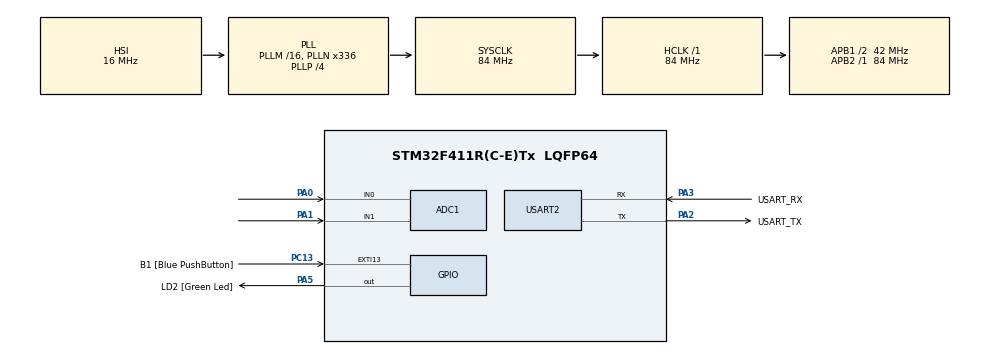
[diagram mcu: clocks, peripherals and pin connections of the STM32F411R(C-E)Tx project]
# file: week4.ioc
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ADC1.Channel-0\#ChannelRegularConversion=ADC_CHANNEL_0
ADC1.Channel-1\#ChannelRegularConversion=ADC_CHANNEL_TEMPSENSOR
ADC1.ContinuousConvMode=ENABLE
ADC1.DMAContinuousRequests=ENABLE
ADC1.NbrOfConversion=2
ADC1.NbrOfConversionFlag=1
ADC1.Rank-0\#ChannelRegularConversion=1
ADC1.Rank-1\#ChannelRegularConversion=2
ADC1.SamplingTime-0\#ChannelRegularConversion=ADC_SAMPLETIME_56CYCLES
ADC1.SamplingTime-1\#ChannelRegularConversion=ADC_SAMPLETIME_56CYCLES
ADC1.master=1
Dma.ADC1.0.Direction=DMA_PERIPH_TO_MEMORY
Dma.ADC1.0.FIFOMode=DMA_FIFOMODE_DISABLE
Dma.ADC1.0.Instance=DMA2_Stream0
Dma.ADC1.0.MemDataAlignment=DMA_MDATAALIGN_HALFWORD
Dma.ADC1.0.MemInc=DMA_MINC_ENABLE
Dma.ADC1.0.Mode=DMA_CIRCULAR
Dma.ADC1.0.PeriphDataAlignment=DMA_PDATAALIGN_HALFWORD
Dma.ADC1.0.PeriphInc=DMA_PINC_DISABLE
Dma.ADC1.0.Priority=DMA_PRIORITY_LOW
Dma.Request0=ADC1
Mcu.Family=STM32F4
Mcu.Name=STM32F411R(C-E)Tx
Mcu.Package=LQFP64
NVIC.ADC_IRQn=true\:0\:0\:false\:false\:true\:true\:true\:true
NVIC.DMA2_Stream0_IRQn=true\:0\:0\:false\:false\:true\:false\:true\:true
NVIC.EXTI15_10_IRQn=true\:0\:0\:false\:false\:true\:true\:true\:true
NVIC.PriorityGroup=NVIC_PRIORITYGROUP_0
PA0-WKUP.Signal=ADCx_IN0
PA1.Signal=ADCx_IN1
PA13.GPIO_Label=TMS
PA13.Mode=Serial_Wire
PA13.Signal=SYS_JTMS-SWDIO
PA14.GPIO_Label=TCK
PA14.Mode=Serial_Wire
PA14.Signal=SYS_JTCK-SWCLK
PA2.GPIO_Label=USART_TX
PA2.Mode=Asynchronous
PA2.Signal=USART2_TX
PA3.GPIO_Label=USART_RX
PA3.Mode=Asynchronous
PA3.Signal=USART2_RX
PA5.GPIO_Label=LD2 [Green Led]
PA5.Signal=GPIO_Output
PB3.GPIO_Label=SWO
PB3.Signal=SYS_JTDO-SWO
PC13-ANTI_TAMP.GPIO_Label=B1 [Blue PushButton]
PC13-ANTI_TAMP.GPIO_ModeDefaultEXTI=GPIO_MODE_IT_FALLING
PC13-ANTI_TAMP.Signal=GPXTI13
PC14-OSC32_IN.Mode=LSE-External-Oscillator
PC14-OSC32_IN.Signal=RCC_OSC32_IN
PC15-OSC32_OUT.Mode=LSE-External-Oscillator
PC15-OSC32_OUT.Signal=RCC_OSC32_OUT
PH0\ -\ OSC_IN.Mode=HSE-External-Clock-Source
PH0\ -\ OSC_IN.Signal=RCC_OSC_IN
PH1\ -\ OSC_OUT.Mode=HSE-External-Clock-Source
PH1\ -\ OSC_OUT.Signal=RCC_OSC_OUT
ProjectManager.HeapSize=0x200
ProjectManager.StackSize=0x400
ProjectManager.TargetToolchain=STM32CubeIDE
RCC.48MHZClocksFreq_Value=84000000
RCC.AHBFreq_Value=84000000
RCC.APB1CLKDivider=RCC_HCLK_DIV2
RCC.APB1Freq_Value=42000000
RCC.APB1TimFreq_Value=84000000
RCC.APB2Freq_Value=84000000
RCC.APB2TimFreq_Value=84000000
RCC.CortexFreq_Value=84000000
RCC.FLatency-AdvancedSettings=FLASH_LATENCY_2
RCC.HCLKFreq_Value=84000000
RCC.HSE_VALUE=8000000
RCC.HSI_VALUE=16000000
RCC.PLLN=336
RCC.PLLP=RCC_PLLP_DIV4
RCC.SYSCLKFreq_VALUE=84000000
RCC.SYSCLKSource=RCC_SYSCLKSOURCE_PLLCLK
RCC.VCOOutputFreq_Value=336000000
SH.ADCx_IN0.0=ADC1_IN0,IN0
SH.ADCx_IN1.0=ADC1_IN1,IN1
USART2.VirtualMode=VM_ASYNC
VP_ADC1_TempSens_Input.Mode=IN-TempSens
board=NUCLEO-F411RE

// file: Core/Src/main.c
/* USER CODE BEGIN Header */
/**
  ******************************************************************************
  * @file           : main.c
  * @brief          : Main program body
  ******************************************************************************
  * @attention
  *
  * Copyright (c) 2023 STMicroelectronics.
  * All rights reserved.
  *
  * This software is licensed under terms that can be found in the LICENSE file
  * in the root directory of this software component.
  * If no LICENSE file comes with this software, it is provided AS-IS.
  *
  ******************************************************************************
  */
/* USER CODE END Header */
#include "main.h"

ADC_HandleTypeDef hadc1;
DMA_HandleTypeDef hdma_adc1;

UART_HandleTypeDef huart2;

/* USER CODE BEGIN PV */
typedef struct
{
	uint16_t IN0;
	uint16_t Temp;

}ADCDMABuffer;

ADCDMABuffer adcdmabuffer[10];

uint16_t AvgVin = 0; // bit
uint16_t Vin = 0; // mV

uint16_t AvgTemp = 0 ; // bit
uint16_t TempKevin = 0 ;  // K

/* USER CODE END PV */

void SystemClock_Config(void);
static void MX_GPIO_Init(void);
static void MX_DMA_Init(void);
static void MX_USART2_UART_Init(void);
static void MX_ADC1_Init(void);

int main(void)
{

  /* MCU Configuration--------------------------------------------------------*/

  /* Reset of all peripherals, Initializes the Flash interface and the Systick. */
  HAL_Init();

  /* Configure the system clock */
  SystemClock_Config();

  /* Initialize all configured peripherals */
  MX_GPIO_Init();
  MX_DMA_Init();
  MX_USART2_UART_Init();
  MX_ADC1_Init();
  /* USER CODE BEGIN 2 */
  HAL_ADC_Start_DMA(&hadc1, (uint32_t*) adcdmabuffer, 20);
  /* USER CODE END 2 */

  /* Infinite loop */
  while (1)
  {

    /* USER CODE BEGIN 3 */
	  //Call function every 1000 ms = 1 s =  1 Hz
		static uint32_t Timestamp = 0;
		if (HAL_GetTick() >= Timestamp)
		{
			Timestamp = HAL_GetTick() + 1000;
//
			//register int i;
			AvgVin = 0 ;  //set start
			AvgTemp = 0 ; //set start

			for (int i = 0; i < 10; i++)
			{
				AvgVin += adcdmabuffer[i].IN0 ;
				AvgTemp += adcdmabuffer[i].Temp ;

				if (i == 9)
				{
					AvgVin = AvgVin / 10 ; // find Avg Vin
					AvgTemp = AvgTemp / 10 ; // find Avg Temp
				}
			}
				Vin = (( AvgVin * 3.3 * 1000) / 4096 )* 2;  //find Vin * 2 because voltage div
				TempKevin = (((( AvgTemp * 3.3 * 1000) / 4096 ) - (0.76 * 1000)) / 2.5 ) + 25 + 273.15; //find Temp
				 // V25 = 0.76 mV. = 0.76 * 10^3
				//  (( AvgTemp * 3.3 * 1000) / 4096 )  bit to mV.
				//  + 273.15   C to Kevin

				//AvgVin = 0 ;  //set start
				//AvgTemp = 0 ; //set start

		}
  }
  /* USER CODE END 3 */
}

void SystemClock_Config(void)
{
  RCC_OscInitTypeDef RCC_OscInitStruct = {0};
  RCC_ClkInitTypeDef RCC_ClkInitStruct = {0};

  /** Configure the main internal regulator output voltage
  */
  __HAL_RCC_PWR_CLK_ENABLE();
  __HAL_PWR_VOLTAGESCALING_CONFIG(PWR_REGULATOR_VOLTAGE_SCALE1);

  /** Initializes the RCC Oscillators according to the specified parameters
  * in the RCC_OscInitTypeDef structure.
  */
  RCC_OscInitStruct.OscillatorType = RCC_OSCILLATORTYPE_HSI;
  RCC_OscInitStruct.HSIState = RCC_HSI_ON;
  RCC_OscInitStruct.HSICalibrationValue = RCC_HSICALIBRATION_DEFAULT;
  RCC_OscInitStruct.PLL.PLLState = RCC_PLL_ON;
  RCC_OscInitStruct.PLL.PLLSource = RCC_PLLSOURCE_HSI;
  RCC_OscInitStruct.PLL.PLLM = 16;
  RCC_OscInitStruct.PLL.PLLN = 336;
  RCC_OscInitStruct.PLL.PLLP = RCC_PLLP_DIV4;
  RCC_OscInitStruct.PLL.PLLQ = 4;
  if (HAL_RCC_OscConfig(&RCC_OscInitStruct) != HAL_OK)
  {
    Error_Handler();
  }

  /** Initializes the CPU, AHB and APB buses clocks
  */
  RCC_ClkInitStruct.ClockType = RCC_CLOCKTYPE_HCLK|RCC_CLOCKTYPE_SYSCLK
                              |RCC_CLOCKTYPE_PCLK1|RCC_CLOCKTYPE_PCLK2;
  RCC_ClkInitStruct.SYSCLKSource = RCC_SYSCLKSOURCE_PLLCLK;
  RCC_ClkInitStruct.AHBCLKDivider = RCC_SYSCLK_DIV1;
  RCC_ClkInitStruct.APB1CLKDivider = RCC_HCLK_DIV2;
  RCC_ClkInitStruct.APB2CLKDivider = RCC_HCLK_DIV1;

  if (HAL_RCC_ClockConfig(&RCC_ClkInitStruct, FLASH_LATENCY_2) != HAL_OK)
  {
    Error_Handler();
  }
}

static void MX_ADC1_Init(void)
{

  ADC_ChannelConfTypeDef sConfig = {0};

  /** Configure the global features of the ADC (Clock, Resolution, Data Alignment and number of conversion)
  */
  hadc1.Instance = ADC1;
  hadc1.Init.ClockPrescaler = ADC_CLOCK_SYNC_PCLK_DIV4;
  hadc1.Init.Resolution = ADC_RESOLUTION_12B;
  hadc1.Init.ScanConvMode = ENABLE;
  hadc1.Init.ContinuousConvMode = ENABLE;
  hadc1.Init.DiscontinuousConvMode = DISABLE;
  hadc1.Init.ExternalTrigConvEdge = ADC_EXTERNALTRIGCONVEDGE_NONE;
  hadc1.Init.ExternalTrigConv = ADC_SOFTWARE_START;
  hadc1.Init.DataAlign = ADC_DATAALIGN_RIGHT;
  hadc1.Init.NbrOfConversion = 2;
  hadc1.Init.DMAContinuousRequests = ENABLE;
  hadc1.Init.EOCSelection = ADC_EOC_SINGLE_CONV;
  if (HAL_ADC_Init(&hadc1) != HAL_OK)
  {
    Error_Handler();
  }

  /** Configure for the selected ADC regular channel its corresponding rank in the sequencer and its sample time.
  */
  sConfig.Channel = ADC_CHANNEL_0;
  sConfig.Rank = 1;
  sConfig.SamplingTime = ADC_SAMPLETIME_56CYCLES;
  if (HAL_ADC_ConfigChannel(&hadc1, &sConfig) != HAL_OK)
  {
    Error_Handler();
  }

  /** Configure for the selected ADC regular channel its corresponding rank in the sequencer and its sample time.
  */
  sConfig.Channel = ADC_CHANNEL_TEMPSENSOR;
  sConfig.Rank = 2;
  if (HAL_ADC_ConfigChannel(&hadc1, &sConfig) != HAL_OK)
  {
    Error_Handler();
  }

}

static void MX_USART2_UART_Init(void)
{

  huart2.Instance = USART2;
  huart2.Init.BaudRate = 115200;
  huart2.Init.WordLength = UART_WORDLENGTH_8B;
  huart2.Init.StopBits = UART_STOPBITS_1;
  huart2.Init.Parity = UART_PARITY_NONE;
  huart2.Init.Mode = UART_MODE_TX_RX;
  huart2.Init.HwFlowCtl = UART_HWCONTROL_NONE;
  huart2.Init.OverSampling = UART_OVERSAMPLING_16;
  if (HAL_UART_Init(&huart2) != HAL_OK)
  {
    Error_Handler();
  }

}

static void MX_DMA_Init(void)
{

  /* DMA controller clock enable */
  __HAL_RCC_DMA2_CLK_ENABLE();

  /* DMA interrupt init */
  /* DMA2_Stream0_IRQn interrupt configuration */
  HAL_NVIC_SetPriority(DMA2_Stream0_IRQn, 0, 0);
  HAL_NVIC_EnableIRQ(DMA2_Stream0_IRQn);

}

static void MX_GPIO_Init(void)
{
  GPIO_InitTypeDef GPIO_InitStruct = {0};

  /* GPIO Ports Clock Enable */
  __HAL_RCC_GPIOC_CLK_ENABLE();
  __HAL_RCC_GPIOH_CLK_ENABLE();
  __HAL_RCC_GPIOA_CLK_ENABLE();
  __HAL_RCC_GPIOB_CLK_ENABLE();

  /*Configure GPIO pin Output Level */
  HAL_GPIO_WritePin(LD2_GPIO_Port, LD2_Pin, GPIO_PIN_RESET);

  /*Configure GPIO pin : B1_Pin */
  GPIO_InitStruct.Pin = B1_Pin;
  GPIO_InitStruct.Mode = GPIO_MODE_IT_FALLING;
  GPIO_InitStruct.Pull = GPIO_NOPULL;
  HAL_GPIO_Init(B1_GPIO_Port, &GPIO_InitStruct);

  /*Configure GPIO pin : LD2_Pin */
  GPIO_InitStruct.Pin = LD2_Pin;
  GPIO_InitStruct.Mode = GPIO_MODE_OUTPUT_PP;
  GPIO_InitStruct.Pull = GPIO_NOPULL;
  GPIO_InitStruct.Speed = GPIO_SPEED_FREQ_LOW;
  HAL_GPIO_Init(LD2_GPIO_Port, &GPIO_InitStruct);

  /* EXTI interrupt init*/
  HAL_NVIC_SetPriority(EXTI15_10_IRQn, 0, 0);
  HAL_NVIC_EnableIRQ(EXTI15_10_IRQn);

}

void Error_Handler(void)
{
  __disable_irq();
  while (1)
  {
  }
}
